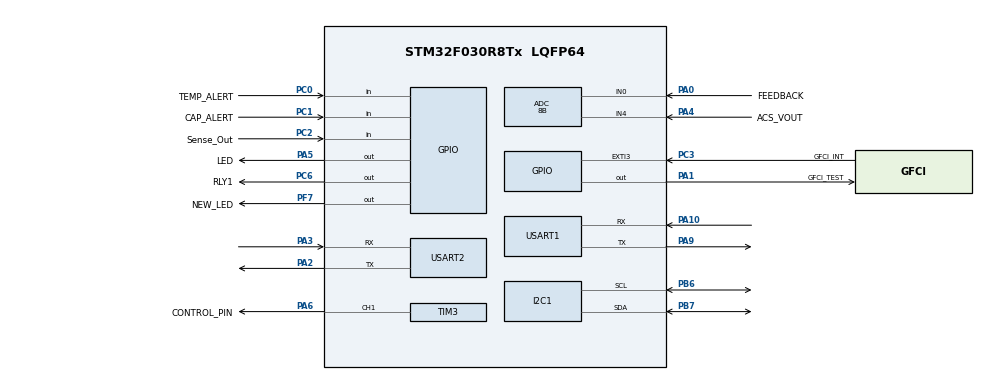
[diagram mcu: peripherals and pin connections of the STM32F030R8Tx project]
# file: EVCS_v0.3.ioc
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ADC.ContinuousConvMode=DISABLE
ADC.Resolution=ADC_RESOLUTION_8B
Mcu.Family=STM32F0
Mcu.Name=STM32F030R8Tx
Mcu.Package=LQFP64
NVIC.EXTI2_3_IRQn=true\:0\:0\:false\:false\:true\:true\:true
PA0.GPIO_Label=FEEDBACK
PA0.Mode=IN0
PA0.Signal=ADC_IN0
PA1.GPIO_Label=GFCI_TEST
PA1.Signal=GPIO_Output
PA10.Mode=Asynchronous
PA10.Signal=USART1_RX
PA13.Mode=Serial_Wire
PA13.Signal=SYS_SWDIO
PA14.Mode=Serial_Wire
PA14.Signal=SYS_SWCLK
PA2.Mode=Asynchronous
PA2.Signal=USART2_TX
PA3.Mode=Asynchronous
PA3.Signal=USART2_RX
PA4.GPIO_Label=ACS_VOUT
PA4.Mode=IN4
PA4.Signal=ADC_IN4
PA5.GPIO_Label=LED
PA5.Signal=GPIO_Output
PA6.GPIO_Label=CONTROL_PIN
PA6.Signal=S_TIM3_CH1
PA9.Mode=Asynchronous
PA9.Signal=USART1_TX
PB6.Mode=I2C
PB6.Signal=I2C1_SCL
PB7.Mode=I2C
PB7.Signal=I2C1_SDA
PC0.GPIO_Label=TEMP_ALERT
PC0.Signal=GPIO_Input
PC1.GPIO_Label=CAP_ALERT
PC1.Signal=GPIO_Input
PC14-OSC32_IN.Mode=LSE-External-Oscillator
PC14-OSC32_IN.Signal=RCC_OSC32_IN
PC15-OSC32_OUT.Mode=LSE-External-Oscillator
PC15-OSC32_OUT.Signal=RCC_OSC32_OUT
PC2.GPIO_Label=Sense_Out
PC2.Signal=GPIO_Input
PC3.GPIO_Label=GFCI_INT
PC3.Signal=GPXTI3
PC6.GPIO_Label=RLY1
PC6.Signal=GPIO_Output
PF7.GPIO_Label=NEW_LED
PF7.Signal=GPIO_Output
ProjectManager.HeapSize=0x200
ProjectManager.StackSize=0x400
ProjectManager.TargetToolchain=STM32CubeIDE
SH.S_TIM3_CH1.0=TIM3_CH1,PWM Generation1 CH1
TIM3.Channel-PWM\ Generation1\ CH1=TIM_CHANNEL_1
TIM3.Period=1000
TIM3.Prescaler=8
USART1.VirtualMode-Asynchronous=VM_ASYNC
USART2.VirtualMode-Asynchronous=VM_ASYNC
VP_TIM3_VS_ClockSourceINT.Mode=Internal
board=custom

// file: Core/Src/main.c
/* USER CODE BEGIN Header */
/**
  ******************************************************************************
  * @file           : main.c
  * @brief          : Main program body
  ******************************************************************************
  * @attention
  *
  * <h2><center>&copy; Copyright (c) 2020 STMicroelectronics.
  * All rights reserved.</center></h2>
  *
  * This software component is licensed by ST under BSD 3-Clause license,
  * the "License"; You may not use this file except in compliance with the
  * License. You may obtain a copy of the License at:
  *                        opensource.org/licenses/BSD-3-Clause
  *
  ******************************************************************************
  */
/* USER CODE END Header */

#include "main.h"

/* USER CODE BEGIN Includes */
#include "PWM.h"
#include "cap1203.h"
#include "CAP1203_Registers.h"
#include "MCP9808.h"
#include "ssd1306.h"
#include <stdint.h>
#include <string.h>

#include "ssd1306_tests.h"
#include "ssd1306.h"

#include "menu.h"

#include "fonts.h"
#include "oled.h"
#include "gfx.h"

#include "States.h"
/* USER CODE END Includes */

ADC_HandleTypeDef hadc;

I2C_HandleTypeDef hi2c1;

TIM_HandleTypeDef htim3;

UART_HandleTypeDef huart1;
UART_HandleTypeDef huart2;

/* USER CODE BEGIN PV */
#define SENSOR_INPUT_ENABLE 0x21;
#define SENSITIVITY_CONTROL 0x1F;
#define AVERAGING_AND_SAMPLE_CONFIG 0x24;

#define VREFINT_CAL_ADDR ((uint16_t*)((uint32_t)0x1FFFF7BA))
/* USER CODE END PV */

void SystemClock_Config(void);
static void MX_GPIO_Init(void);
static void MX_I2C1_Init(void);
static void MX_TIM3_Init(void);
static void MX_USART1_UART_Init(void);
static void MX_USART2_UART_Init(void);
static void MX_ADC_Init(void);

/* USER CODE BEGIN 0 */
float c; //temp result is stored in c variable
char temp_result[50]; //using sprintf function, the result is stored in temp_result as a character
int buttonStates = 0;

int time = 0;

int current = 0;

int deneme = 0;

int gfci_statu = 0; //0 means no gfci
int relay_statu = 0; //0 means no gfci

uint32_t adcNum;

int average = 0;

int cap, touch, oled;

int store = 0;

//ADC variables
uint32_t analog_value = 0;
float input_voltage = 0.0;

uint32_t previous = 0;
uint32_t half = 0;
uint32_t result = 0;

int x,y,k = 0;

int currentstate = 0;

int dutycycle = 0;

/* USER CODE END 0 */

int main(void)
{

  /* MCU Configuration--------------------------------------------------------*/

  /* Reset of all peripherals, Initializes the Flash interface and the Systick. */
  HAL_Init();

  /* Configure the system clock */
  SystemClock_Config();

  /* Initialize all configured peripherals */
  MX_GPIO_Init();
  MX_I2C1_Init();
  MX_TIM3_Init();
  MX_USART1_UART_Init();
  MX_USART2_UART_Init();
  MX_ADC_Init();
  /* USER CODE BEGIN 2 */

	if(!isCAP1203Ready()){
		while(1){
			HAL_GPIO_TogglePin(NEW_LED_GPIO_Port, NEW_LED_Pin);
			HAL_Delay(70);
		}
	}

	if(!isMCP98083Ready()){
		while(1){
			HAL_GPIO_TogglePin(NEW_LED_GPIO_Port, NEW_LED_Pin);
			HAL_Delay(70);
		}
	}

	if(!isSSD1306Ready()){
		while(1){
			HAL_GPIO_TogglePin(NEW_LED_GPIO_Port, NEW_LED_Pin);
			HAL_Delay(70);
		}
	}

		/* Inits ------------------------------------------------------------------*/

	HAL_TIM_PWM_Start(&htim3, TIM_CHANNEL_1);

	init(); 				//MCP9808 initialization
    ssd1306_Init(); //OLED1203 initialization

	setResolution(3); // sets the resolution mode of reading, the modes are defined in the table bellow:
  // Mode Resolution SampleTime
  //  0    0.5°C       30 my
  //  1    0.25°C      65 ms
  //  2    0.125°C     130 ms
  //  3    0.0625°C    250 ms
	current = 30;

	//Initializing the EVSE
	ssd1306_Fill(Black);
	ssd1306_SetCursor(2, 7);
	ssd1306_WriteString("MFRKNYCL", Font_11x18, White);
	ssd1306_UpdateScreen();
	htim3.Instance->CCR1 = 1000;

  /* USER CODE END 2 */

  /* Infinite loop */
  while (1)
  {

    /* USER CODE BEGIN 3 */

	  HAL_GPIO_WritePin(NEW_LED_GPIO_Port, NEW_LED_Pin, 0);

	  //Start ADC reading
	  HAL_ADC_Start(&hadc);

	  if(HAL_ADC_PollForConversion(&hadc, 5) == HAL_OK){

		  analog_value = HAL_ADC_GetValue(&hadc);
		  //input_voltage = (analog_value * 3.3)/225;

	  }
	  HAL_ADC_Stop(&hadc);

	  HAL_Delay(200);

	  getState();

	  screen();

	 // HAL_Delay(5000);

deneme = buttons();

  }
  /* USER CODE END 3 */
}

void SystemClock_Config(void)
{
  RCC_OscInitTypeDef RCC_OscInitStruct = {0};
  RCC_ClkInitTypeDef RCC_ClkInitStruct = {0};
  RCC_PeriphCLKInitTypeDef PeriphClkInit = {0};

  /** Initializes the CPU, AHB and APB busses clocks
  */
  RCC_OscInitStruct.OscillatorType = RCC_OSCILLATORTYPE_HSI|RCC_OSCILLATORTYPE_HSI14;
  RCC_OscInitStruct.HSIState = RCC_HSI_ON;
  RCC_OscInitStruct.HSI14State = RCC_HSI14_ON;
  RCC_OscInitStruct.HSICalibrationValue = RCC_HSICALIBRATION_DEFAULT;
  RCC_OscInitStruct.HSI14CalibrationValue = 16;
  RCC_OscInitStruct.PLL.PLLState = RCC_PLL_NONE;
  if (HAL_RCC_OscConfig(&RCC_OscInitStruct) != HAL_OK)
  {
    Error_Handler();
  }
  /** Initializes the CPU, AHB and APB busses clocks
  */
  RCC_ClkInitStruct.ClockType = RCC_CLOCKTYPE_HCLK|RCC_CLOCKTYPE_SYSCLK
                              |RCC_CLOCKTYPE_PCLK1;
  RCC_ClkInitStruct.SYSCLKSource = RCC_SYSCLKSOURCE_HSI;
  RCC_ClkInitStruct.AHBCLKDivider = RCC_SYSCLK_DIV1;
  RCC_ClkInitStruct.APB1CLKDivider = RCC_HCLK_DIV1;

  if (HAL_RCC_ClockConfig(&RCC_ClkInitStruct, FLASH_LATENCY_0) != HAL_OK)
  {
    Error_Handler();
  }
  PeriphClkInit.PeriphClockSelection = RCC_PERIPHCLK_USART1|RCC_PERIPHCLK_I2C1;
  PeriphClkInit.Usart1ClockSelection = RCC_USART1CLKSOURCE_PCLK1;
  PeriphClkInit.I2c1ClockSelection = RCC_I2C1CLKSOURCE_HSI;
  if (HAL_RCCEx_PeriphCLKConfig(&PeriphClkInit) != HAL_OK)
  {
    Error_Handler();
  }
}

static void MX_ADC_Init(void)
{

  ADC_ChannelConfTypeDef sConfig = {0};

  /** Configure the global features of the ADC (Clock, Resolution, Data Alignment and number of conversion)
  */
  hadc.Instance = ADC1;
  hadc.Init.ClockPrescaler = ADC_CLOCK_ASYNC_DIV1;
  hadc.Init.Resolution = ADC_RESOLUTION_8B;
  hadc.Init.DataAlign = ADC_DATAALIGN_RIGHT;
  hadc.Init.ScanConvMode = ADC_SCAN_DIRECTION_FORWARD;
  hadc.Init.EOCSelection = ADC_EOC_SINGLE_CONV;
  hadc.Init.LowPowerAutoWait = DISABLE;
  hadc.Init.LowPowerAutoPowerOff = DISABLE;
  hadc.Init.ContinuousConvMode = DISABLE;
  hadc.Init.DiscontinuousConvMode = DISABLE;
  hadc.Init.ExternalTrigConv = ADC_SOFTWARE_START;
  hadc.Init.ExternalTrigConvEdge = ADC_EXTERNALTRIGCONVEDGE_NONE;
  hadc.Init.DMAContinuousRequests = DISABLE;
  hadc.Init.Overrun = ADC_OVR_DATA_PRESERVED;
  if (HAL_ADC_Init(&hadc) != HAL_OK)
  {
    Error_Handler();
  }
  /** Configure for the selected ADC regular channel to be converted.
  */
  sConfig.Channel = ADC_CHANNEL_0;
  sConfig.Rank = ADC_RANK_CHANNEL_NUMBER;
  sConfig.SamplingTime = ADC_SAMPLETIME_1CYCLE_5;
  if (HAL_ADC_ConfigChannel(&hadc, &sConfig) != HAL_OK)
  {
    Error_Handler();
  }
  /** Configure for the selected ADC regular channel to be converted.
  */
  sConfig.Channel = ADC_CHANNEL_4;
  if (HAL_ADC_ConfigChannel(&hadc, &sConfig) != HAL_OK)
  {
    Error_Handler();
  }

}

static void MX_I2C1_Init(void)
{

  hi2c1.Instance = I2C1;
  hi2c1.Init.Timing = 0x2000090E;
  hi2c1.Init.OwnAddress1 = 0;
  hi2c1.Init.AddressingMode = I2C_ADDRESSINGMODE_7BIT;
  hi2c1.Init.DualAddressMode = I2C_DUALADDRESS_DISABLE;
  hi2c1.Init.OwnAddress2 = 0;
  hi2c1.Init.OwnAddress2Masks = I2C_OA2_NOMASK;
  hi2c1.Init.GeneralCallMode = I2C_GENERALCALL_DISABLE;
  hi2c1.Init.NoStretchMode = I2C_NOSTRETCH_DISABLE;
  if (HAL_I2C_Init(&hi2c1) != HAL_OK)
  {
    Error_Handler();
  }
  /** Configure Analogue filter
  */
  if (HAL_I2CEx_ConfigAnalogFilter(&hi2c1, I2C_ANALOGFILTER_ENABLE) != HAL_OK)
  {
    Error_Handler();
  }
  /** Configure Digital filter
  */
  if (HAL_I2CEx_ConfigDigitalFilter(&hi2c1, 0) != HAL_OK)
  {
    Error_Handler();
  }

}

static void MX_TIM3_Init(void)
{

  TIM_ClockConfigTypeDef sClockSourceConfig = {0};
  TIM_MasterConfigTypeDef sMasterConfig = {0};
  TIM_OC_InitTypeDef sConfigOC = {0};

  htim3.Instance = TIM3;
  htim3.Init.Prescaler = 8;
  htim3.Init.CounterMode = TIM_COUNTERMODE_UP;
  htim3.Init.Period = 1000;//887;
  htim3.Init.ClockDivision = TIM_CLOCKDIVISION_DIV1;
  htim3.Init.AutoReloadPreload = TIM_AUTORELOAD_PRELOAD_DISABLE;
  if (HAL_TIM_Base_Init(&htim3) != HAL_OK)
  {
    Error_Handler();
  }
  sClockSourceConfig.ClockSource = TIM_CLOCKSOURCE_INTERNAL;
  if (HAL_TIM_ConfigClockSource(&htim3, &sClockSourceConfig) != HAL_OK)
  {
    Error_Handler();
  }
  if (HAL_TIM_PWM_Init(&htim3) != HAL_OK)
  {
    Error_Handler();
  }
  sMasterConfig.MasterOutputTrigger = TIM_TRGO_RESET;
  sMasterConfig.MasterSlaveMode = TIM_MASTERSLAVEMODE_DISABLE;
  if (HAL_TIMEx_MasterConfigSynchronization(&htim3, &sMasterConfig) != HAL_OK)
  {
    Error_Handler();
  }
  sConfigOC.OCMode = TIM_OCMODE_PWM1;
  sConfigOC.Pulse = 0;
  sConfigOC.OCPolarity = TIM_OCPOLARITY_HIGH;
  sConfigOC.OCFastMode = TIM_OCFAST_DISABLE;
  if (HAL_TIM_PWM_ConfigChannel(&htim3, &sConfigOC, TIM_CHANNEL_1) != HAL_OK)
  {
    Error_Handler();
  }
  HAL_TIM_MspPostInit(&htim3);

}

static void MX_USART1_UART_Init(void)
{

  huart1.Instance = USART1;
  huart1.Init.BaudRate = 38400;
  huart1.Init.WordLength = UART_WORDLENGTH_8B;
  huart1.Init.StopBits = UART_STOPBITS_1;
  huart1.Init.Parity = UART_PARITY_NONE;
  huart1.Init.Mode = UART_MODE_TX_RX;
  huart1.Init.HwFlowCtl = UART_HWCONTROL_NONE;
  huart1.Init.OverSampling = UART_OVERSAMPLING_16;
  huart1.Init.OneBitSampling = UART_ONE_BIT_SAMPLE_DISABLE;
  huart1.AdvancedInit.AdvFeatureInit = UART_ADVFEATURE_NO_INIT;
  if (HAL_UART_Init(&huart1) != HAL_OK)
  {
    Error_Handler();
  }

}

static void MX_USART2_UART_Init(void)
{

  huart2.Instance = USART2;
  huart2.Init.BaudRate = 38400;
  huart2.Init.WordLength = UART_WORDLENGTH_8B;
  huart2.Init.StopBits = UART_STOPBITS_1;
  huart2.Init.Parity = UART_PARITY_NONE;
  huart2.Init.Mode = UART_MODE_TX_RX;
  huart2.Init.HwFlowCtl = UART_HWCONTROL_NONE;
  huart2.Init.OverSampling = UART_OVERSAMPLING_16;
  huart2.Init.OneBitSampling = UART_ONE_BIT_SAMPLE_DISABLE;
  huart2.AdvancedInit.AdvFeatureInit = UART_ADVFEATURE_NO_INIT;
  if (HAL_UART_Init(&huart2) != HAL_OK)
  {
    Error_Handler();
  }

}

static void MX_GPIO_Init(void)
{
  GPIO_InitTypeDef GPIO_InitStruct = {0};

  /* GPIO Ports Clock Enable */
  __HAL_RCC_GPIOC_CLK_ENABLE();
  __HAL_RCC_GPIOA_CLK_ENABLE();
  __HAL_RCC_GPIOF_CLK_ENABLE();
  __HAL_RCC_GPIOB_CLK_ENABLE();

  /*Configure GPIO pin Output Level */
  HAL_GPIO_WritePin(GPIOA, GFCI_TEST_Pin|LED_Pin, GPIO_PIN_RESET);

  /*Configure GPIO pin Output Level */
  HAL_GPIO_WritePin(RLY1_GPIO_Port, RLY1_Pin, GPIO_PIN_RESET);

  /*Configure GPIO pin Output Level */
  HAL_GPIO_WritePin(NEW_LED_GPIO_Port, NEW_LED_Pin, GPIO_PIN_RESET);

  /*Configure GPIO pins : TEMP_ALERT_Pin CAP_ALERT_Pin Sense_Out_Pin */
  GPIO_InitStruct.Pin = TEMP_ALERT_Pin|CAP_ALERT_Pin|Sense_Out_Pin;
  GPIO_InitStruct.Mode = GPIO_MODE_INPUT;
  GPIO_InitStruct.Pull = GPIO_NOPULL;
  HAL_GPIO_Init(GPIOC, &GPIO_InitStruct);

  /*Configure GPIO pin : GFCI_INT_Pin */
  GPIO_InitStruct.Pin = GFCI_INT_Pin;
  GPIO_InitStruct.Mode = GPIO_MODE_IT_RISING;
  GPIO_InitStruct.Pull = GPIO_NOPULL;
  HAL_GPIO_Init(GFCI_INT_GPIO_Port, &GPIO_InitStruct);

  /*Configure GPIO pins : GFCI_TEST_Pin LED_Pin */
  GPIO_InitStruct.Pin = GFCI_TEST_Pin|LED_Pin;
  GPIO_InitStruct.Mode = GPIO_MODE_OUTPUT_PP;
  GPIO_InitStruct.Pull = GPIO_NOPULL;
  GPIO_InitStruct.Speed = GPIO_SPEED_FREQ_LOW;
  HAL_GPIO_Init(GPIOA, &GPIO_InitStruct);

  /*Configure GPIO pin : RLY1_Pin */
  GPIO_InitStruct.Pin = RLY1_Pin;
  GPIO_InitStruct.Mode = GPIO_MODE_OUTPUT_PP;
  GPIO_InitStruct.Pull = GPIO_NOPULL;
  GPIO_InitStruct.Speed = GPIO_SPEED_FREQ_LOW;
  HAL_GPIO_Init(RLY1_GPIO_Port, &GPIO_InitStruct);

  /*Configure GPIO pin : NEW_LED_Pin */
  GPIO_InitStruct.Pin = NEW_LED_Pin;
  GPIO_InitStruct.Mode = GPIO_MODE_OUTPUT_PP;
  GPIO_InitStruct.Pull = GPIO_NOPULL;
  GPIO_InitStruct.Speed = GPIO_SPEED_FREQ_LOW;
  HAL_GPIO_Init(NEW_LED_GPIO_Port, &GPIO_InitStruct);

  /* EXTI interrupt init*/
  HAL_NVIC_SetPriority(EXTI2_3_IRQn, 0, 0);
  HAL_NVIC_EnableIRQ(EXTI2_3_IRQn);

}

/* USER CODE BEGIN 4 */
/**
  * @brief  EXTI line detection callback.
  * @param  GPIO_Pin Specifies the port pin connected to corresponding EXTI line.
  * @retval None
  */
void HAL_GPIO_EXTI_Callback(uint16_t GPIO_Pin)
{
  /* Prevent unused argument(s) compilation warning */
  UNUSED(GPIO_Pin);

  /* NOTE: This function should not be modified, when the callback is needed,
            the HAL_GPIO_EXTI_Callback could be implemented in the user file
   */

	ssd1306_Fill(Black);
	ssd1306_SetCursor(2, 7);
	ssd1306_WriteString("GFCI [X]", Font_11x18, White);
	ssd1306_UpdateScreen();
	HAL_GPIO_WritePin(NEW_LED_GPIO_Port, NEW_LED_Pin, 1);
}

/* USER CODE END 4 */

void Error_Handler(void)
{
}

/************************ (C) COPYRIGHT STMicroelectronics *****END OF FILE****/
